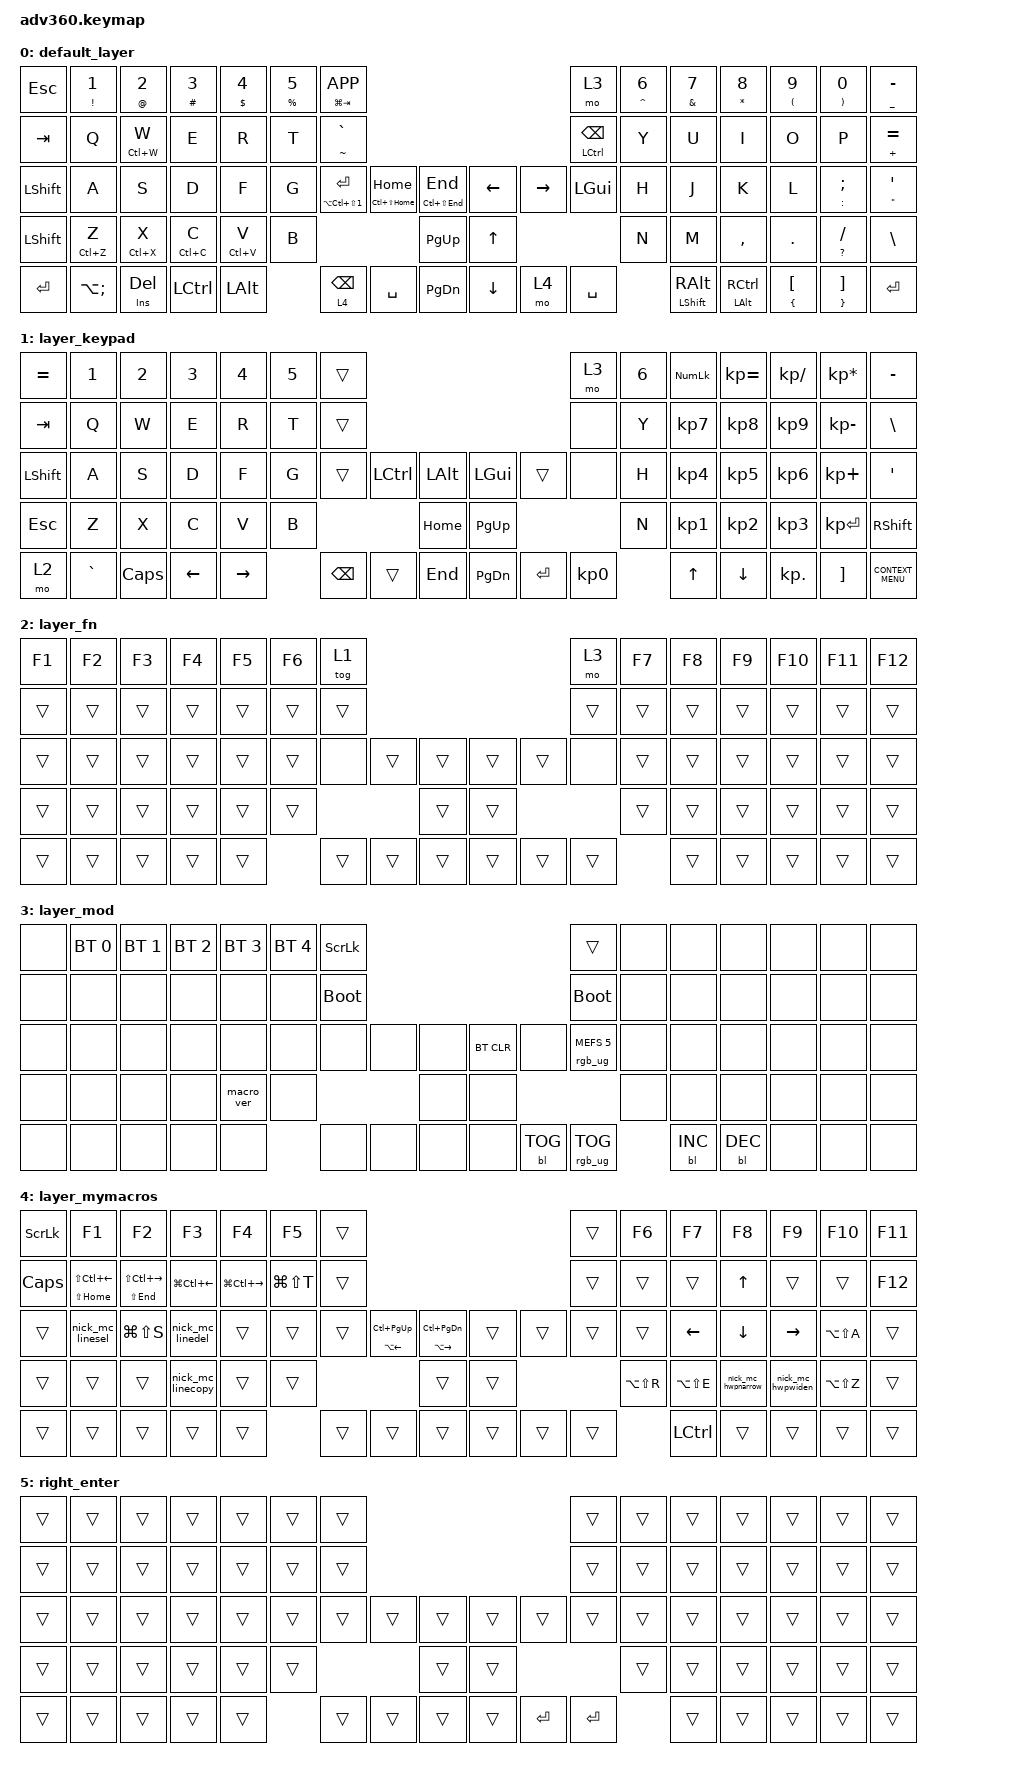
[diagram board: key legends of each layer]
/*
 * Copyright (c) 2020 The ZMK Contributors
 *
 * SPDX-License-Identifier: MIT
 */
/* THIS FILE WAS GENERATED!
 *
 * This file was generated automatically. You may or may not want to
 * edit it directly.
 */

#include <behaviors.dtsi>
#include <dt-bindings/zmk/backlight.h>
#include <dt-bindings/zmk/bt.h>
#include <dt-bindings/zmk/keys.h>
#include <dt-bindings/zmk/rgb.h>

&sk { release-after-ms = <2000>; };

&sl { release-after-ms = <2000>; };

&lt {
    flavor = "balanced";
    tapping-term-ms = <150>;
    quick-tap-ms = <200>;
};

/ {
    behaviors {
        #include "macros.dtsi"
    #include "version.dtsi"

        hm: homerow_mods {
            compatible = "zmk,behavior-hold-tap";
            label = "HOMEROW_MODS";
            #binding-cells = <2>;
            tapping-term-ms = <200>;
            flavor = "tap-preferred";
            bindings = <&kp>, <&kp>;
        };

        kp_sk: kp_sk {
            compatible = "zmk,behavior-hold-tap";
            label = "KP_SK";
            bindings = <&kp>, <&sk>;

            #binding-cells = <2>;
            tapping-term-ms = <200>;
            flavor = "hold-preferred";
        };

        sl_kp: sl_kp {
            compatible = "zmk,behavior-hold-tap";
            label = "SL_KP";
            bindings = <&sl>, <&kp>;

            #binding-cells = <2>;
            tapping-term-ms = <200>;
            flavor = "hold-preferred";
        };

        hm_hl: hm_hl {
            compatible = "zmk,behavior-hold-tap";
            label = "HM_HL";
            bindings = <&kp>, <&kp>;

            #binding-cells = <2>;
            flavor = "hold-preferred";
            tapping-term-ms = <200>;
        };

        td_scaps: td_scaps {
            compatible = "zmk,behavior-tap-dance";
            label = "TD_SCAPS";
            #binding-cells = <0>;
            bindings = <&kp LSHIFT>, <&kp CAPS>;
        };
    };

    macros {
        nick_mc_linedel: nick_mc_linedel {
            compatible = "zmk,behavior-macro";
            #binding-cells = <0>;
            bindings = <&kp END &kp LS(HOME) &kp BSPC>;
            label = "NICK_MC_LINEDEL";
        };

        nick_mc_linecopy: nick_mc_linecopy {
            compatible = "zmk,behavior-macro";
            #binding-cells = <0>;
            bindings = <&kp END &kp LS(HOME) &kp LC(C)>;
            label = "NICK_MC_LINECOPY";
        };

        nick_mc_hwpnarrow: nick_mc_hwpnarrow {
            compatible = "zmk,behavior-macro";
            #binding-cells = <0>;
            bindings = <&kp LA(LS(N)) &kp LA(LS(J))>;
            label = "NICK_MC_HWPNARROW";
        };

        nick_mc_hwpwiden: nick_mc_hwpwiden {
            compatible = "zmk,behavior-macro";
            #binding-cells = <0>;
            bindings = <&kp LA(LS(K)) &kp LA(LS(W))>;
            label = "NICK_MC_HWPWIDEN";
        };

        nick_mc_linesel: nick_mc_linesel {
            compatible = "zmk,behavior-macro";
            #binding-cells = <0>;
            bindings = <&kp END &kp LC(LS(HOME))>;
            label = "NICK_MC_LINESEL";
        };
    };

    keymap {
        compatible = "zmk,keymap";

        default_layer {
            bindings = <
&kp ESC     &hm EXCLAMATION N1  &hm AT_SIGN N2  &hm HASH N3  &hm DOLLAR N4  &hm PERCENT N5  &hm LG(TAB) K_APP                                                                                  &mo 3           &hm CARET N6  &hm AMPERSAND N7  &hm ASTERISK N8  &hm LEFT_PARENTHESIS N9      &hm RIGHT_PARENTHESIS N0       &hm UNDERSCORE MINUS
&kp TAB     &kp Q               &hm LC(W) W     &kp E        &kp R          &kp T           &hm TILDE GRAVE                                                                                    &hm LCTRL BSPC  &kp Y         &kp U             &kp I            &kp O                        &kp P                          &hm PLUS EQUAL
&kp LSHIFT  &kp A               &kp S           &kp D        &kp F          &kp G           &hm LA(LC(LS(N1))) ENTER  &hm LC(LS(HOME)) HOME  &hm LC(LS(END)) END      &kp LEFT      &kp RIGHT  &kp LGUI        &kp H         &kp J             &kp K            &kp L                        &hm COLON SEMICOLON            &hm DOUBLE_QUOTES APOSTROPHE
&kp LSHIFT  &hm LC(Z) Z         &hm LC(X) X     &hm LC(C) C  &hm LC(V) V    &kp B                                                            &kp PG_UP                &kp UP_ARROW                             &kp N         &kp M             &kp COMMA        &kp DOT                      &hm QUESTION SLASH             &kp BACKSLASH
&kp ENTER   &kp LA(SEMICOLON)   &hm INS DEL     &kp LCTRL    &kp LALT                       &lt 4 BSPC                &kp SPACE              &kp PAGE_DOWN            &kp DOWN      &mo 4      &kp SPACE                     &hm LSHIFT RALT   &hm LALT RCTRL   &hm LEFT_BRACE LEFT_BRACKET  &hm RIGHT_BRACE RIGHT_BRACKET  &kp ENTER
            >;
        };

        layer_keypad {
            bindings = <
&kp EQUAL   &kp N1     &kp N2    &kp N3    &kp N4     &kp N5  &trans                                                   &mo 3      &kp N6  &kp KP_NUM  &kp KP_EQUAL  &kp KP_DIVIDE  &kp KP_MULTIPLY  &kp MINUS
&kp TAB     &kp Q      &kp W     &kp E     &kp R      &kp T   &trans                                                   &none      &kp Y   &kp KP_N7   &kp KP_N8     &kp KP_N9      &kp KP_MINUS     &kp BSLH
&kp LSHIFT  &kp A      &kp S     &kp D     &kp F      &kp G   &trans    &kp LCTRL  &kp LALT      &kp LGUI   &trans     &none      &kp H   &kp KP_N4   &kp KP_N5     &kp KP_N6      &kp KP_PLUS      &kp SQT
&kp ESC     &kp Z      &kp X     &kp C     &kp V      &kp B                        &kp HOME      &kp PG_UP                        &kp N   &kp KP_N1   &kp KP_N2     &kp KP_N3      &kp KP_ENTER     &kp RSHFT
&mo 2       &kp GRAVE  &kp CAPS  &kp LEFT  &kp RIGHT          &kp BSPC  &trans     &kp END       &kp PG_DN  &kp ENTER  &kp KP_N0          &kp UP      &kp DOWN      &kp KP_DOT     &kp RBKT         &kp K_CONTEXT_MENU
            >;
        };

        layer_fn {
            bindings = <
&kp F1  &kp F2  &kp F3  &kp F4  &kp F5  &kp F6  &tog 1                                      &mo 3   &kp F7  &kp F8  &kp F9  &kp F10  &kp F11  &kp F12
&trans  &trans  &trans  &trans  &trans  &trans  &trans                                      &trans  &trans  &trans  &trans  &trans   &trans   &trans
&trans  &trans  &trans  &trans  &trans  &trans  &none   &trans  &trans      &trans  &trans  &none   &trans  &trans  &trans  &trans   &trans   &trans
&trans  &trans  &trans  &trans  &trans  &trans                  &trans      &trans                  &trans  &trans  &trans  &trans   &trans   &trans
&trans  &trans  &trans  &trans  &trans          &trans  &trans  &trans      &trans  &trans  &trans          &trans  &trans  &trans   &trans   &trans
            >;
        };

        layer_mod {
            bindings = <
&none  &bt BT_SEL 0  &bt BT_SEL 1  &bt BT_SEL 2  &bt BT_SEL 3  &bt BT_SEL 4  &kp SCROLLLOCK                                            &trans                  &none  &none       &none       &none  &none  &none
&none  &none         &none         &none         &none         &none         &bootloader                                               &bootloader             &none  &none       &none       &none  &none  &none
&none  &none         &none         &none         &none         &none         &none           &none  &none      &bt BT_CLR  &none       &rgb_ug RGB_MEFS_CMD 5  &none  &none       &none       &none  &none  &none
&none  &none         &none         &none         &macro_ver    &none                                &none      &none                                           &none  &none       &none       &none  &none  &none
&none  &none         &none         &none         &none                       &none           &none  &none      &none       &bl BL_TOG  &rgb_ug RGB_TOG                &bl BL_INC  &bl BL_DEC  &none  &none  &none
            >;
        };

        layer_mymacros {
            bindings = <
&kp SLCK      &kp F1                     &kp F2                     &kp F3             &kp F4             &kp F5         &trans                                                                       &trans  &kp F6         &kp F7         &kp F8              &kp F9             &kp F10        &kp F11
&kp CAPSLOCK  &hm LS(HOME) LS(LC(LEFT))  &hm LS(END) LS(LC(RIGHT))  &kp LG(LC(LEFT))   &kp LG(LC(RIGHT))  &kp LG(LS(T))  &trans                                                                       &trans  &trans         &trans         &kp UP_ARROW        &trans             &trans         &kp F12
&trans        &nick_mc_linesel           &kp LG(LS(S))              &nick_mc_linedel   &trans             &trans         &trans  &hm LA(LEFT) LC(PG_UP)  &hm LA(RIGHT) LC(PG_DN)      &trans  &trans  &trans  &trans         &kp LEFT       &kp DOWN            &kp RIGHT          &kp LA(LS(A))  &trans
&trans        &trans                     &trans                     &nick_mc_linecopy  &trans             &trans                                         &trans                       &trans                  &kp LA(LS(R))  &kp LA(LS(E))  &nick_mc_hwpnarrow  &nick_mc_hwpwiden  &kp LA(LS(Z))  &trans
&trans        &trans                     &trans                     &trans             &trans                            &trans  &trans                  &trans                       &trans  &trans  &trans                 &kp LCTRL      &trans              &trans             &trans         &trans
            >;
        };

        right_enter {
            bindings = <
&trans  &trans  &trans  &trans  &trans  &trans  &trans                                         &trans     &trans  &trans  &trans  &trans  &trans  &trans
&trans  &trans  &trans  &trans  &trans  &trans  &trans                                         &trans     &trans  &trans  &trans  &trans  &trans  &trans
&trans  &trans  &trans  &trans  &trans  &trans  &trans  &trans  &trans      &trans  &trans     &trans     &trans  &trans  &trans  &trans  &trans  &trans
&trans  &trans  &trans  &trans  &trans  &trans                  &trans      &trans                        &trans  &trans  &trans  &trans  &trans  &trans
&trans  &trans  &trans  &trans  &trans          &trans  &trans  &trans      &trans  &kp ENTER  &kp ENTER          &trans  &trans  &trans  &trans  &trans
            >;
        };
    };

    conditional_layers {
        compatible = "zmk,conditional-layers";

        layer4_5 {
            if-layers = <4>;
            then-layer = <5>;
        };
    };
};
